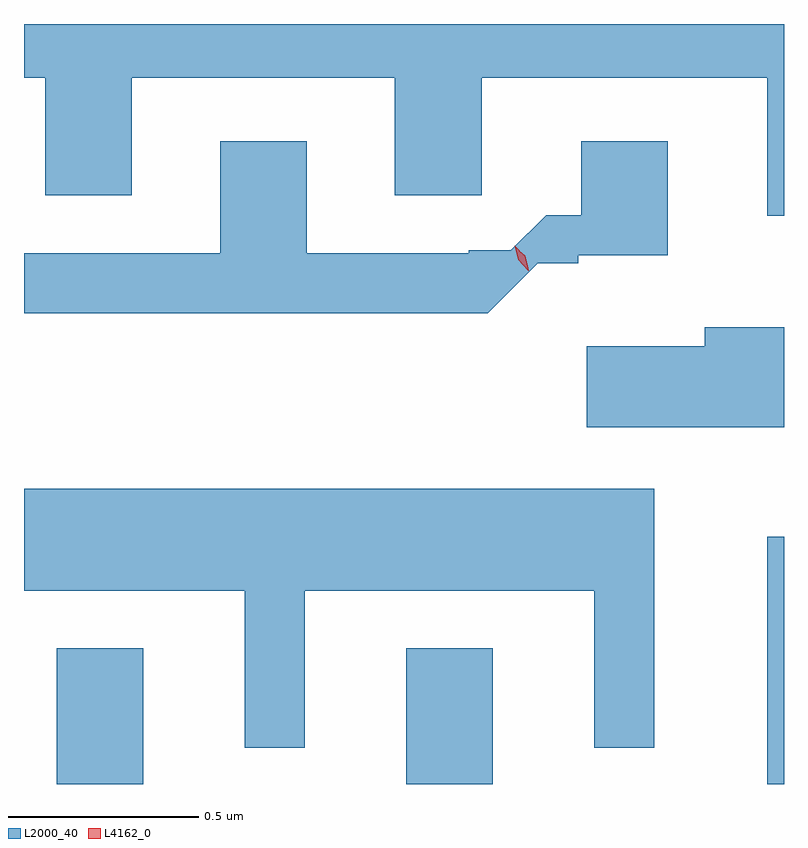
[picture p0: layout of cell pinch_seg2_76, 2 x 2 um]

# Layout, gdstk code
import gdstk
lib = gdstk.Library(unit=1e-6, precision=1e-09)
def R(c, l, rs):  # rectangles x0, y0, x1, y1
    for r in rs: c.add(gdstk.rectangle(r[:2], r[2:], *l))
def P(c, l, *ps):  # polygons
    for p in ps: c.add(gdstk.Polygon(p, *l))
L2000_40 = (2000, 40)
L4162_0 = (4162, 0)

pinch_seg2_76 = lib.new_cell('pinch_seg2_76')
R(pinch_seg2_76, L2000_40, [(1217.951,1106.397,1218.179,1106.754), (1218.871,1106.397,1219.099,1106.754), (1219.821,1106.397,1219.865,1107.048)])
P(pinch_seg2_76, L2000_40, [(1219.865,1108.397),(1217.865,1108.397),(1217.865,1108.256),(1217.921,1108.256),(1217.921,1107.946),(1218.149,1107.946),(1218.149,1108.256),(1218.841,1108.256),(1218.841,1107.946),(1219.069,1107.946),(1219.069,1108.256),(1219.821,1108.256),(1219.821,1107.893),(1219.865,1107.893)],
  [(1219.217,1107.767),(1219.323,1107.767),(1219.323,1107.788),(1219.559,1107.788),(1219.559,1108.089),(1219.331,1108.089),(1219.331,1107.894),(1219.239,1107.894),(1219.146,1107.801),(1219.035,1107.801),(1219.035,1107.794),(1218.609,1107.794),(1218.609,1108.089),(1218.381,1108.089),(1218.381,1107.794),(1217.865,1107.794),(1217.865,1107.636),(1219.086,1107.636)],
  [(1219.865,1107.599),(1219.656,1107.599),(1219.656,1107.549),(1219.346,1107.549),(1219.346,1107.336),(1219.865,1107.336)],
  [(1218.604,1106.906),(1219.366,1106.906),(1219.366,1106.493),(1219.524,1106.493),(1219.524,1107.174),(1217.865,1107.174),(1217.865,1106.906),(1218.446,1106.906),(1218.446,1106.493),(1218.604,1106.493)])
P(pinch_seg2_76, L4162_0, [(1219.192,1107.748),(1219.166,1107.776),(1219.156,1107.813),(1219.156,1107.814),(1219.157,1107.814),(1219.183,1107.786),(1219.193,1107.749),(1219.193,1107.748)],
  [(1219.192,1107.755),(1219.191,1107.756),(1219.167,1107.776),(1219.159,1107.807),(1219.16,1107.808),(1219.16,1107.807),(1219.184,1107.787),(1219.192,1107.756)])

lib.write_gds('pinch_seg2_76.gds')
